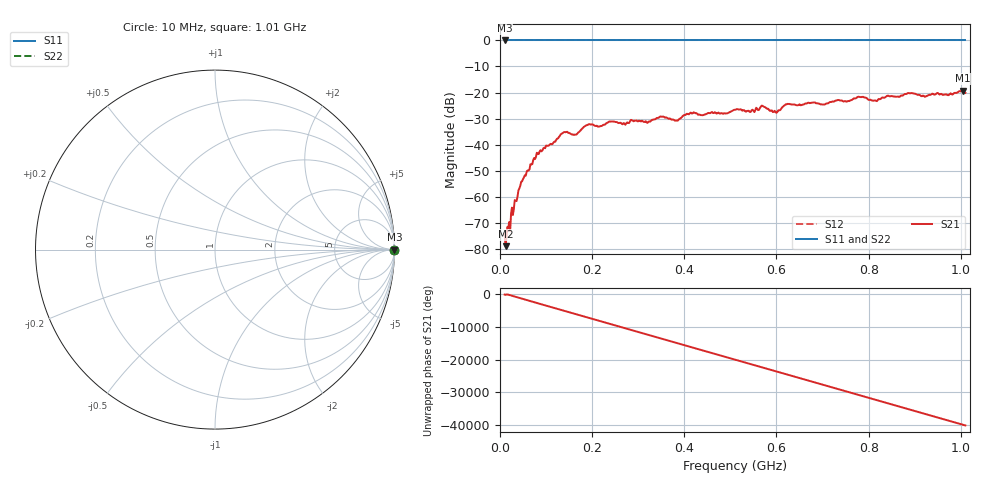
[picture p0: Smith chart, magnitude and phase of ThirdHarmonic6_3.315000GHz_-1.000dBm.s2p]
! 8/17/2025 10:22:24 AM
! C:\ANRITSUVNA\TEMP\TEMP.S2P
! CHANNEL.1
! TR.MEASUREMENT
! RAW.DATA
! RF.CORRECTION.OFF
! AVERAGING.OFF
! IF.BANDWIDTH: 5KHZ
! SWEEPTYPE:  FREQ.SWEEP(Linear)
! Reference Plane Port Info
! PORT:  PORT1  PORT2
! DISTANCE:  0  m  0  m
! TIME:  0  s  0  s
! PHASE.OFFSET:  0  deg.  0  deg.
! LOSS:  0  dB  0  dB
! REF.LOSS:  0  dB  0  dB
! REF.FREQ:  0  Hz  0  Hz
! Power Info
! POWER:  -20  dBm  -20  dBm
! EFF.POWER:  -20  dBm  -20  dBm
! SOURCE.ATTEN:  0  dB  0  dB
! TEST.ATTEN:  0  dB  0  dB
# GHZ S RI R 50.0
! FREQ.GHZ  S11RE  S11IM  S21RE  S21IM  S12RE  S12IM  S22RE  S22IM
!; PortSelection: Port_12
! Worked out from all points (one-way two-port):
!   501 points, 10 MHz to 1.01 GHz, reference 50 ohm
!   highest |S21| = -19.24 dB at 1.004 GHz (marker M1); lowest = -79.0 dB at 12 MHz (marker M2)
!   lowest |S11| = 0.0 dB at 10 MHz (marker M3)
!   |S11| at or under -10 dB: nowhere
!   |S22| runs from 0.0 to 0.0 dB; largest |S21 - S12| = 1.1
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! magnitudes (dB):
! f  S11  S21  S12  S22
! 10 MHz  0.0  -74.1  0.0  0.0
! 12 MHz  0.0  -79.0  0.0  0.0
! 44 MHz  0.0  -55.9  0.0  0.0
! 78 MHz  0.0  -44.7  0.0  0.0
! 136 MHz  0.0  -35.6  0.0  0.0
! 164 MHz  0.0  -36.2  0.0  0.0
! 178 MHz  0.0  -34.0  0.0  0.0
! 196 MHz  0.0  -32.3  0.0  0.0
! 344 MHz  0.0  -29.7  0.0  0.0
! 382 MHz  0.0  -30.8  0.0  0.0
! 416 MHz  0.0  -28.1  0.0  0.0
! 510 MHz  0.0  -26.6  0.0  0.0
! 548 MHz  0.0  -26.6  0.0  0.0
! 570 MHz  0.0  -25.1  0.0  0.0
! 598 MHz  0.0  -27.5  0.0  0.0
! 624 MHz  0.0  -24.4  0.0  0.0
! 678 MHz  0.0  -23.9  0.0  0.0
! 782 MHz  0.0  -21.7  0.0  0.0
! 814 MHz  0.0  -23.0  0.0  0.0
! 844 MHz  0.0  -21.4  0.0  0.0
! 1.004 GHz  0.0  -19.2  0.0  0.0
! 1.01 GHz  0.0  -20.1  0.0  0.0
